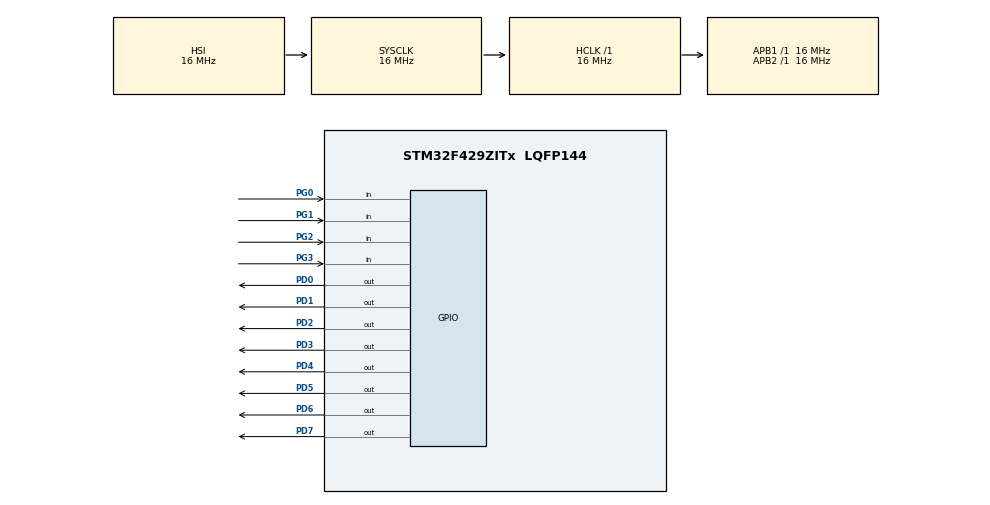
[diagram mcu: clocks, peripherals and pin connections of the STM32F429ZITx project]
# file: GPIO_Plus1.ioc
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Mcu.Family=STM32F4
Mcu.Name=STM32F429ZITx
Mcu.Package=LQFP144
NVIC.PriorityGroup=NVIC_PRIORITYGROUP_4
PA13.Mode=Serial_Wire
PA13.Signal=SYS_JTMS-SWDIO
PA14.Mode=Serial_Wire
PA14.Signal=SYS_JTCK-SWCLK
PD0.GPIO_PuPd=GPIO_PULLUP
PD0.GPIO_Speed=GPIO_SPEED_FREQ_HIGH
PD0.Signal=GPIO_Output
PD1.GPIO_PuPd=GPIO_PULLUP
PD1.GPIO_Speed=GPIO_SPEED_FREQ_HIGH
PD1.Signal=GPIO_Output
PD2.GPIO_PuPd=GPIO_PULLUP
PD2.GPIO_Speed=GPIO_SPEED_FREQ_HIGH
PD2.Signal=GPIO_Output
PD3.GPIO_PuPd=GPIO_PULLUP
PD3.GPIO_Speed=GPIO_SPEED_FREQ_HIGH
PD3.Signal=GPIO_Output
PD4.GPIO_PuPd=GPIO_PULLUP
PD4.GPIO_Speed=GPIO_SPEED_FREQ_HIGH
PD4.Signal=GPIO_Output
PD5.GPIO_PuPd=GPIO_PULLUP
PD5.GPIO_Speed=GPIO_SPEED_FREQ_HIGH
PD5.Signal=GPIO_Output
PD6.GPIO_PuPd=GPIO_PULLUP
PD6.GPIO_Speed=GPIO_SPEED_FREQ_HIGH
PD6.Signal=GPIO_Output
PD7.GPIO_PuPd=GPIO_PULLUP
PD7.GPIO_Speed=GPIO_SPEED_FREQ_HIGH
PD7.Signal=GPIO_Output
PG0.GPIO_PuPd=GPIO_PULLDOWN
PG0.Signal=GPIO_Input
PG1.GPIO_PuPd=GPIO_PULLDOWN
PG1.Signal=GPIO_Input
PG2.GPIO_PuPd=GPIO_PULLDOWN
PG2.Signal=GPIO_Input
PG3.GPIO_PuPd=GPIO_PULLDOWN
PG3.Signal=GPIO_Input
ProjectManager.HeapSize=0x200
ProjectManager.StackSize=0x400
ProjectManager.TargetToolchain=STM32CubeIDE
RCC.AHBFreq_Value=16000000
RCC.APB1Freq_Value=16000000
RCC.APB2Freq_Value=16000000
RCC.CortexFreq_Value=16000000
RCC.HSE_VALUE=25000000
RCC.HSI_VALUE=16000000
RCC.LSE_VALUE=32768
RCC.SYSCLKFreq_VALUE=16000000
RCC.VCOOutputFreq_Value=192000000
board=custom

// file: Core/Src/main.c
/* USER CODE BEGIN Header */
/**
  ******************************************************************************
  * @file           : main.c
  * @brief          : Main program body
  ******************************************************************************
  * @attention
  *
  * Copyright (c) 2022 STMicroelectronics.
  * All rights reserved.
  *
  * This software is licensed under terms that can be found in the LICENSE file
  * in the root directory of this software component.
  * If no LICENSE file comes with this software, it is provided AS-IS.
  *
  ******************************************************************************
  */
/* USER CODE END Header */
#include "main.h"

void SystemClock_Config(void);
static void MX_GPIO_Init(void);
/* USER CODE BEGIN PFP */
void LED_OnOff(int, int);
void LED_On(int, int);
void LED_Off(int);
/* USER CODE END PFP */

int main(void)
{
  /* USER CODE BEGIN 1 */
   uint16_t led = 0x01;
  /* USER CODE END 1 */

  /* MCU Configuration--------------------------------------------------------*/

  /* Reset of all peripherals, Initializes the Flash interface and the Systick. */
  HAL_Init();

  /* Configure the system clock */
  SystemClock_Config();

  /* Initialize all configured peripherals */
  MX_GPIO_Init();
  /* USER CODE BEGIN 2 */
  LED_OnOff(LED_ALL, 500);
  /* USER CODE END 2 */

  /* Infinite loop */
  /* USER CODE BEGIN WHILE */
  while (1)
  {
	  for(led=1;led<=0xff;led*=2){
		  LED_On(0,300);
	        for(int n=1;n<=led;n*=2){
	          LED_On(n, 300);}
	        LED_Off(0);
	        for(int m=1;m<=led;m*=2){
	          LED_Off(m);
      }
     }
    /* USER CODE END WHILE */

  }
}

void SystemClock_Config(void)
{
  RCC_OscInitTypeDef RCC_OscInitStruct = {0};
  RCC_ClkInitTypeDef RCC_ClkInitStruct = {0};

  /** Configure the main internal regulator output voltage
  */
  __HAL_RCC_PWR_CLK_ENABLE();
  __HAL_PWR_VOLTAGESCALING_CONFIG(PWR_REGULATOR_VOLTAGE_SCALE3);

  /** Initializes the RCC Oscillators according to the specified parameters
  * in the RCC_OscInitTypeDef structure.
  */
  RCC_OscInitStruct.OscillatorType = RCC_OSCILLATORTYPE_HSI;
  RCC_OscInitStruct.HSIState = RCC_HSI_ON;
  RCC_OscInitStruct.HSICalibrationValue = RCC_HSICALIBRATION_DEFAULT;
  RCC_OscInitStruct.PLL.PLLState = RCC_PLL_NONE;
  if (HAL_RCC_OscConfig(&RCC_OscInitStruct) != HAL_OK)
  {
    Error_Handler();
  }

  /** Initializes the CPU, AHB and APB buses clocks
  */
  RCC_ClkInitStruct.ClockType = RCC_CLOCKTYPE_HCLK|RCC_CLOCKTYPE_SYSCLK
                              |RCC_CLOCKTYPE_PCLK1|RCC_CLOCKTYPE_PCLK2;
  RCC_ClkInitStruct.SYSCLKSource = RCC_SYSCLKSOURCE_HSI;
  RCC_ClkInitStruct.AHBCLKDivider = RCC_SYSCLK_DIV1;
  RCC_ClkInitStruct.APB1CLKDivider = RCC_HCLK_DIV1;
  RCC_ClkInitStruct.APB2CLKDivider = RCC_HCLK_DIV1;

  if (HAL_RCC_ClockConfig(&RCC_ClkInitStruct, FLASH_LATENCY_0) != HAL_OK)
  {
    Error_Handler();
  }
}

static void MX_GPIO_Init(void)
{
  GPIO_InitTypeDef GPIO_InitStruct = {0};

  /* GPIO Ports Clock Enable */
  __HAL_RCC_GPIOG_CLK_ENABLE();
  __HAL_RCC_GPIOA_CLK_ENABLE();
  __HAL_RCC_GPIOD_CLK_ENABLE();

  /*Configure GPIO pin Output Level */
  HAL_GPIO_WritePin(GPIOD, GPIO_PIN_0|GPIO_PIN_1|GPIO_PIN_2|GPIO_PIN_3
                          |GPIO_PIN_4|GPIO_PIN_5|GPIO_PIN_6|GPIO_PIN_7, GPIO_PIN_RESET);

  /*Configure GPIO pins : PG0 PG1 PG2 PG3 */
  GPIO_InitStruct.Pin = GPIO_PIN_0|GPIO_PIN_1|GPIO_PIN_2|GPIO_PIN_3;
  GPIO_InitStruct.Mode = GPIO_MODE_INPUT;
  GPIO_InitStruct.Pull = GPIO_PULLDOWN;
  HAL_GPIO_Init(GPIOG, &GPIO_InitStruct);

  /*Configure GPIO pins : PD0 PD1 PD2 PD3
                           PD4 PD5 PD6 PD7 */
  GPIO_InitStruct.Pin = GPIO_PIN_0|GPIO_PIN_1|GPIO_PIN_2|GPIO_PIN_3
                          |GPIO_PIN_4|GPIO_PIN_5|GPIO_PIN_6|GPIO_PIN_7;
  GPIO_InitStruct.Mode = GPIO_MODE_OUTPUT_PP;
  GPIO_InitStruct.Pull = GPIO_PULLUP;
  GPIO_InitStruct.Speed = GPIO_SPEED_FREQ_HIGH;
  HAL_GPIO_Init(GPIOD, &GPIO_InitStruct);

}

/* USER CODE BEGIN 4 */
void LED_OnOff(int led, int interval)
{
   HAL_GPIO_WritePin(GPIO_LED, led, GPIO_PIN_SET);
   HAL_Delay(interval);
   HAL_GPIO_WritePin(GPIO_LED, led, GPIO_PIN_RESET);
}
void LED_On(int led, int interval)
{
   HAL_GPIO_WritePin(GPIO_LED, led, GPIO_PIN_SET);
   HAL_Delay(interval);

}
void LED_Off(int led)
{
   HAL_GPIO_WritePin(GPIO_LED, led, GPIO_PIN_RESET);
}
/* USER CODE END 4 */

void Error_Handler(void)
{
  __disable_irq();
  while (1)
  {
  }
}
